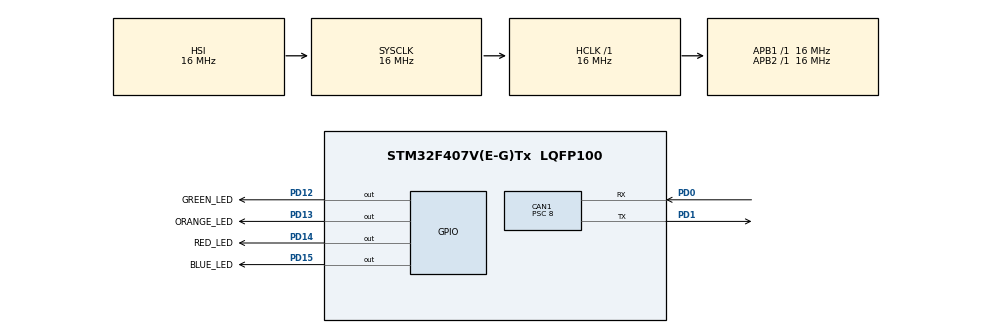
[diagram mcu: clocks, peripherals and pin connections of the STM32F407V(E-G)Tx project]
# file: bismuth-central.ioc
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CAN1.BS1=CAN_BS1_2TQ
CAN1.CalculateBaudRate=500000
CAN1.CalculateTimeBit=2000
CAN1.CalculateTimeQuantum=500.0
CAN1.Prescaler=8
FREERTOS.Tasks01=defaultTask,24,128,StartDefaultTask,Default,NULL,Dynamic,NULL,NULL
FREERTOS.configUSE_NEWLIB_REENTRANT=1
Mcu.Family=STM32F4
Mcu.Name=STM32F407V(E-G)Tx
Mcu.Package=LQFP100
NVIC.CAN1_RX0_IRQn=true\:5\:0\:false\:false\:true\:true\:true\:true\:true
NVIC.PriorityGroup=NVIC_PRIORITYGROUP_4
NVIC.TIM1_UP_TIM10_IRQn=true\:15\:0\:false\:false\:true\:false\:false\:true\:true
NVIC.TimeBase=TIM1_UP_TIM10_IRQn
NVIC.TimeBaseIP=TIM1
PD0.GPIO_PuPd=GPIO_PULLUP
PD0.Mode=CAN_Activate
PD0.Signal=CAN1_RX
PD1.Mode=CAN_Activate
PD1.Signal=CAN1_TX
PD12.GPIO_Label=GREEN_LED
PD12.Signal=GPIO_Output
PD13.GPIO_Label=ORANGE_LED
PD13.Signal=GPIO_Output
PD14.GPIO_Label=RED_LED
PD14.Signal=GPIO_Output
PD15.GPIO_Label=BLUE_LED
PD15.Signal=GPIO_Output
ProjectManager.HeapSize=0x200
ProjectManager.StackSize=0x400
ProjectManager.TargetToolchain=STM32CubeIDE
RCC.AHBFreq_Value=16000000
RCC.APB1Freq_Value=16000000
RCC.APB2Freq_Value=16000000
RCC.CortexFreq_Value=16000000
RCC.HSE_VALUE=25000000
RCC.HSI_VALUE=16000000
RCC.LSE_VALUE=32768
RCC.SYSCLKFreq_VALUE=16000000
RCC.VCOOutputFreq_Value=192000000
VP_FREERTOS_VS_CMSIS_V2.Mode=CMSIS_V2
VP_SYS_VS_tim1.Mode=TIM1
board=custom

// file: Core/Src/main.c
/* USER CODE BEGIN Header */
/**
  ******************************************************************************
  * @file           : main.c
  * @brief          : Main program body
  ******************************************************************************
  * @attention
  *
  * Copyright (c) 2025 STMicroelectronics.
  * All rights reserved.
  *
  * This software is licensed under terms that can be found in the LICENSE file
  * in the root directory of this software component.
  * If no LICENSE file comes with this software, it is provided AS-IS.
  *
  ******************************************************************************
  */
/* USER CODE END Header */
#include "main.h"
#include "cmsis_os.h"

/* USER CODE BEGIN Includes */
#include "FreeRTOS.h"
#include "queue.h"
/* USER CODE END Includes */

CAN_HandleTypeDef hcan1;

/* Definitions for defaultTask */
osThreadId_t defaultTaskHandle;
const osThreadAttr_t defaultTask_attributes = {
  .name = "defaultTask",
  .stack_size = 128 * 4,
  .priority = (osPriority_t) osPriorityNormal,
};
/* USER CODE BEGIN PV */

uint8_t						        ch1TxData[8], ch1RxData[8];
CAN_RxHeaderTypeDef			  ch1RxHeader;
CAN_TxHeaderTypeDef			  ch1TxHeader;
uint32_t						      ch1TxMailbox;

TaskHandle_t canManagerHandle = NULL;
TaskHandle_t task1Handle = NULL;
TaskHandle_t task2Handle = NULL;
xQueueHandle canMessageQueue = NULL;
xQueueHandle task1InputQueue = NULL, task1OutputQueue = NULL;
xQueueHandle task2InputQueue = NULL, task2OutputQueue = NULL;
/* USER CODE END PV */

void SystemClock_Config(void);
static void MX_GPIO_Init(void);
static void MX_CAN1_Init(void);
void StartDefaultTask(void *argument);

/* USER CODE BEGIN PFP */
void entryCanManager(void *argument);
void entryTask1(void *argument);
void entryTask2(void *argument);
/* USER CODE END PFP */

int main(void)
{

  /* MCU Configuration--------------------------------------------------------*/

  /* Reset of all peripherals, Initializes the Flash interface and the Systick. */
  HAL_Init();

  /* Configure the system clock */
  SystemClock_Config();

  /* Initialize all configured peripherals */
  MX_GPIO_Init();
  MX_CAN1_Init();

  /* Init scheduler */
  osKernelInitialize();

  /* Create the thread(s) */
  /* creation of defaultTask */
  defaultTaskHandle = osThreadNew(StartDefaultTask, NULL, &defaultTask_attributes);

  /* USER CODE BEGIN RTOS_THREADS */
  /* add threads, ... */
  BaseType_t xReturned;
  xReturned = xTaskCreate(entryTask1, "task1", 128*2, NULL, tskIDLE_PRIORITY, &task1Handle);
  if (xReturned != pdPASS) {
    /* Task creation failed */
    Error_Handler();
  }
  xReturned = xTaskCreate(entryTask2, "task2", 128, NULL, tskIDLE_PRIORITY, &task2Handle);
  if (xReturned != pdPASS) {
    /* Task creation failed */
    Error_Handler();
  }
  xReturned = xTaskCreate(entryCanManager, "canManager", 128*2, NULL, tskIDLE_PRIORITY, &canManagerHandle);
  if (xReturned != pdPASS) {
    /* Task creation failed */
    Error_Handler();
  }
  /* USER CODE END RTOS_THREADS */

  /* Start scheduler */
  osKernelStart();

  /* We should never get here as control is now taken by the scheduler */

  /* Infinite loop */
  while (1)
  {

  }
}

void SystemClock_Config(void)
{
  RCC_OscInitTypeDef RCC_OscInitStruct = {0};
  RCC_ClkInitTypeDef RCC_ClkInitStruct = {0};

  /** Configure the main internal regulator output voltage
  */
  __HAL_RCC_PWR_CLK_ENABLE();
  __HAL_PWR_VOLTAGESCALING_CONFIG(PWR_REGULATOR_VOLTAGE_SCALE1);

  /** Initializes the RCC Oscillators according to the specified parameters
  * in the RCC_OscInitTypeDef structure.
  */
  RCC_OscInitStruct.OscillatorType = RCC_OSCILLATORTYPE_HSI;
  RCC_OscInitStruct.HSIState = RCC_HSI_ON;
  RCC_OscInitStruct.HSICalibrationValue = RCC_HSICALIBRATION_DEFAULT;
  RCC_OscInitStruct.PLL.PLLState = RCC_PLL_NONE;
  if (HAL_RCC_OscConfig(&RCC_OscInitStruct) != HAL_OK)
  {
    Error_Handler();
  }

  /** Initializes the CPU, AHB and APB buses clocks
  */
  RCC_ClkInitStruct.ClockType = RCC_CLOCKTYPE_HCLK|RCC_CLOCKTYPE_SYSCLK
                              |RCC_CLOCKTYPE_PCLK1|RCC_CLOCKTYPE_PCLK2;
  RCC_ClkInitStruct.SYSCLKSource = RCC_SYSCLKSOURCE_HSI;
  RCC_ClkInitStruct.AHBCLKDivider = RCC_SYSCLK_DIV1;
  RCC_ClkInitStruct.APB1CLKDivider = RCC_HCLK_DIV1;
  RCC_ClkInitStruct.APB2CLKDivider = RCC_HCLK_DIV1;

  if (HAL_RCC_ClockConfig(&RCC_ClkInitStruct, FLASH_LATENCY_0) != HAL_OK)
  {
    Error_Handler();
  }
}

static void MX_CAN1_Init(void)
{

  hcan1.Instance = CAN1;
  hcan1.Init.Prescaler = 8;
  hcan1.Init.Mode = CAN_MODE_NORMAL;
  hcan1.Init.SyncJumpWidth = CAN_SJW_1TQ;
  hcan1.Init.TimeSeg1 = CAN_BS1_2TQ;
  hcan1.Init.TimeSeg2 = CAN_BS2_1TQ;
  hcan1.Init.TimeTriggeredMode = DISABLE;
  hcan1.Init.AutoBusOff = DISABLE;
  hcan1.Init.AutoWakeUp = DISABLE;
  hcan1.Init.AutoRetransmission = DISABLE;
  hcan1.Init.ReceiveFifoLocked = DISABLE;
  hcan1.Init.TransmitFifoPriority = DISABLE;
  if (HAL_CAN_Init(&hcan1) != HAL_OK)
  {
    Error_Handler();
  }
  /* USER CODE BEGIN CAN1_Init 2 */
  CAN_FilterTypeDef canFilterConfig;

  canFilterConfig.FilterActivation = CAN_FILTER_ENABLE;
  canFilterConfig.FilterBank = 3;  // which filter bank to use from the assigned ones
  canFilterConfig.FilterFIFOAssignment = CAN_FILTER_FIFO0;
  canFilterConfig.FilterIdHigh = 0xFFF<<16;
  canFilterConfig.FilterIdLow = 0;
  canFilterConfig.FilterMaskIdHigh = 0xFFF<<16;
  canFilterConfig.FilterMaskIdLow = 0x0000;
  canFilterConfig.FilterMode = CAN_FILTERMODE_IDMASK;
  canFilterConfig.FilterScale = CAN_FILTERSCALE_32BIT;
  canFilterConfig.SlaveStartFilterBank = 10;  // how many filters to assign to the CAN1 (master can)

  HAL_CAN_ConfigFilter(&hcan1, &canFilterConfig);
  /* USER CODE END CAN1_Init 2 */

}

static void MX_GPIO_Init(void)
{
  GPIO_InitTypeDef GPIO_InitStruct = {0};

  /* GPIO Ports Clock Enable */
  __HAL_RCC_GPIOD_CLK_ENABLE();

  /*Configure GPIO pin Output Level */
  HAL_GPIO_WritePin(GPIOD, GREEN_LED_Pin|ORANGE_LED_Pin|RED_LED_Pin|BLUE_LED_Pin, GPIO_PIN_RESET);

  /*Configure GPIO pins : GREEN_LED_Pin ORANGE_LED_Pin RED_LED_Pin BLUE_LED_Pin */
  GPIO_InitStruct.Pin = GREEN_LED_Pin|ORANGE_LED_Pin|RED_LED_Pin|BLUE_LED_Pin;
  GPIO_InitStruct.Mode = GPIO_MODE_OUTPUT_PP;
  GPIO_InitStruct.Pull = GPIO_NOPULL;
  GPIO_InitStruct.Speed = GPIO_SPEED_FREQ_LOW;
  HAL_GPIO_Init(GPIOD, &GPIO_InitStruct);

}

/* USER CODE BEGIN 4 */
void entryTask1(void *argument) {
	bismuthTaskMessage inputData 	= {0};
	bismuthTaskMessage outputData	= {0};

	union {
		float f;
		uint8_t b[4];
	} distanceRead;

    task1InputQueue = xQueueCreate(8, sizeof(bismuthTaskMessage));
    if (task1InputQueue == NULL) {
      /* Queue creation failed */
      Error_Handler();
    }
    task1OutputQueue = xQueueCreate(8, sizeof(bismuthTaskMessage));
    if (task1OutputQueue == NULL) {
      /* Queue creation failed */
      Error_Handler();
    }

    for(;;) {
      /* Send a Remote Request Frame */
      xQueueSend(task1OutputQueue, &outputData, 0);
      /* Receive CAN Frame from manager */
	  if(xQueueReceive(task1InputQueue, &inputData, portMAX_DELAY) == pdTRUE) {
		// Process the received message
		distanceRead.b[0] = inputData.data[0];
		distanceRead.b[1] = inputData.data[1];
		distanceRead.b[2] = inputData.data[2];
		distanceRead.b[3] = inputData.data[3];

		if (distanceRead.f > 20.0) {
			HAL_GPIO_WritePin(BLUE_LED_GPIO_Port, BLUE_LED_Pin, GPIO_PIN_SET);
			HAL_GPIO_WritePin(GREEN_LED_GPIO_Port, GREEN_LED_Pin, GPIO_PIN_RESET);
			HAL_GPIO_WritePin(ORANGE_LED_GPIO_Port, ORANGE_LED_Pin, GPIO_PIN_RESET);
			HAL_GPIO_WritePin(RED_LED_GPIO_Port, RED_LED_Pin, GPIO_PIN_RESET);
		}
		else if (distanceRead.f > 15.0) {
			HAL_GPIO_WritePin(BLUE_LED_GPIO_Port, BLUE_LED_Pin, GPIO_PIN_RESET);
			HAL_GPIO_WritePin(GREEN_LED_GPIO_Port, GREEN_LED_Pin, GPIO_PIN_SET);
			HAL_GPIO_WritePin(ORANGE_LED_GPIO_Port, ORANGE_LED_Pin, GPIO_PIN_RESET);
			HAL_GPIO_WritePin(RED_LED_GPIO_Port, RED_LED_Pin, GPIO_PIN_RESET);
		}
		else if (distanceRead.f > 10.0) {
			HAL_GPIO_WritePin(BLUE_LED_GPIO_Port, BLUE_LED_Pin, GPIO_PIN_RESET);
			HAL_GPIO_WritePin(GREEN_LED_GPIO_Port, GREEN_LED_Pin, GPIO_PIN_RESET);
			HAL_GPIO_WritePin(ORANGE_LED_GPIO_Port, ORANGE_LED_Pin, GPIO_PIN_SET);
			HAL_GPIO_WritePin(RED_LED_GPIO_Port, RED_LED_Pin, GPIO_PIN_RESET);
		}
		else if (10.0 > distanceRead.f) {
			HAL_GPIO_WritePin(BLUE_LED_GPIO_Port, BLUE_LED_Pin, GPIO_PIN_RESET);
			HAL_GPIO_WritePin(GREEN_LED_GPIO_Port, GREEN_LED_Pin, GPIO_PIN_RESET);
			HAL_GPIO_WritePin(ORANGE_LED_GPIO_Port, ORANGE_LED_Pin, GPIO_PIN_RESET);
			HAL_GPIO_WritePin(RED_LED_GPIO_Port, RED_LED_Pin, GPIO_PIN_SET);
		}

	  }
	  vTaskDelay(10);
	 }
}
void entryTask2(void *argument) {
	bismuthTaskMessage inputData 	= {0};
	bismuthTaskMessage outputData	= {0};
	uint8_t systemHalt = 0x00;

	UNUSED(outputData);

	task2InputQueue = xQueueCreate(4, sizeof(bismuthTaskMessage));
  if (task2InputQueue == NULL) {
    /* Queue creation failed */
    Error_Handler();
  }
  task2OutputQueue = xQueueCreate(4, sizeof(bismuthTaskMessage));
  if (task2OutputQueue == NULL) {
    /* Queue creation failed */
    Error_Handler();
  }
  for(;;) {
	  if (xQueueReceive(task2InputQueue, &inputData, portMAX_DELAY) == pdTRUE) {
		  // Process the received message
		  if (!systemHalt) {
		  vTaskSuspend(task1Handle);
		  HAL_GPIO_WritePin(RED_LED_GPIO_Port, RED_LED_Pin, GPIO_PIN_SET);
		  systemHalt = 0x01;
		  } else {
			  vTaskResume(task1Handle);
			  HAL_GPIO_WritePin(RED_LED_GPIO_Port, RED_LED_Pin, GPIO_PIN_RESET);
			  systemHalt = 0x00;
		  }
        __asm("nop");
      }
	    vTaskDelay(10);
  }
}
void entryCanManager(void *argument) {

  BaseType_t xTaskWokenByReceive = pdFALSE;
  bismuthCANMessage canMessage;
  bismuthTaskMessage task1Data, task2Data;

  canMessageQueue = xQueueCreate(8, sizeof(bismuthCANMessage));
  if (canMessageQueue == NULL) {
    /* Queue creation failed */
    Error_Handler();
  }
  /*---Dummy Data---*/
  ch1TxHeader.IDE 		= CAN_ID_STD;
  ch1TxHeader.StdId		= 0x446;
  ch1TxHeader.RTR		= CAN_RTR_REMOTE;
  ch1TxHeader.DLC		= 3;

  ch1TxData[0]			= 24;
  ch1TxData[1]			= 96;
  ch1TxData[2]			= 26;
  /*----------------*/

  HAL_CAN_Start(&hcan1);

  while (1)
  {
	/* Enable CAN interrupts notifications */
	if (HAL_CAN_ActivateNotification(&hcan1, CAN_IT_RX_FIFO0_MSG_PENDING) != HAL_OK) {
		  Error_Handler();
	  }
    /*--- Test routine to trigger peripheral device---*/
//	  if (HAL_CAN_AddTxMessage(&hcan1, &ch1TxHeader, ch1TxData, &ch1TxMailbox) != HAL_OK) {
//		  Error_Handler();
//	  }
    /*---End of test routine---*/

    /* Wait for a CAN frame to be received */
    if (xQueueReceiveFromISR(canMessageQueue, &canMessage, &xTaskWokenByReceive) == pdTRUE) {
      /* Redirect the received CAN message to its specific task queue */
      switch (canMessage.messageHeader.StdId)
      {
        case 0x224:
//          HAL_GPIO_TogglePin(BLUE_LED_GPIO_Port, BLUE_LED_Pin);
          __asm("nop");
          xQueueSend(task1InputQueue, (bismuthTaskMessage *)canMessage.data, 0);
          break;
        case 0x103:
//          HAL_GPIO_TogglePin(RED_LED_GPIO_Port, RED_LED_Pin);
          __asm("nop");
          xQueueSend(task2InputQueue, (bismuthTaskMessage *)canMessage.data, 0);
          break;
        default:
        	break;
      }
    }

    if (xQueueReceive(task1OutputQueue, &task1Data, 10) == pdTRUE) {
    	  ch1TxHeader.IDE 		= CAN_ID_STD;
    	  ch1TxHeader.StdId		= 0x446;
    	  ch1TxHeader.RTR		= CAN_RTR_REMOTE;
    	  ch1TxHeader.DLC		= 0;

    	  if (HAL_CAN_AddTxMessage(&hcan1, &ch1TxHeader, ch1TxData, &ch1TxMailbox) != HAL_OK) {
    		  Error_Handler();
    	  }
    }
	  vTaskDelay(50);
  }
}

void HAL_CAN_RxFifo0MsgPendingCallback(CAN_HandleTypeDef *hcan) {
  BaseType_t xHigherPriorityTaskWoken;
  bismuthCANMessage canMessage;

  /* We have not woken a task at the start of the ISR. */
  xHigherPriorityTaskWoken = pdFALSE;

  if(HAL_CAN_GetRxMessage(hcan, CAN_RX_FIFO0, &canMessage.messageHeader, canMessage.data) != HAL_OK) {
		Error_Handler();
	}

  xQueueSendFromISR(canMessageQueue, &canMessage, &xHigherPriorityTaskWoken);
}
/* USER CODE END 4 */

void StartDefaultTask(void *argument)
{
  for(;;)
  {
    osDelay(1);
  }
}

void HAL_TIM_PeriodElapsedCallback(TIM_HandleTypeDef *htim)
{
  if (htim->Instance == TIM1)
  {
    HAL_IncTick();
  }
}

void Error_Handler(void)
{
  __disable_irq();
  while (1)
  {
  }
}
